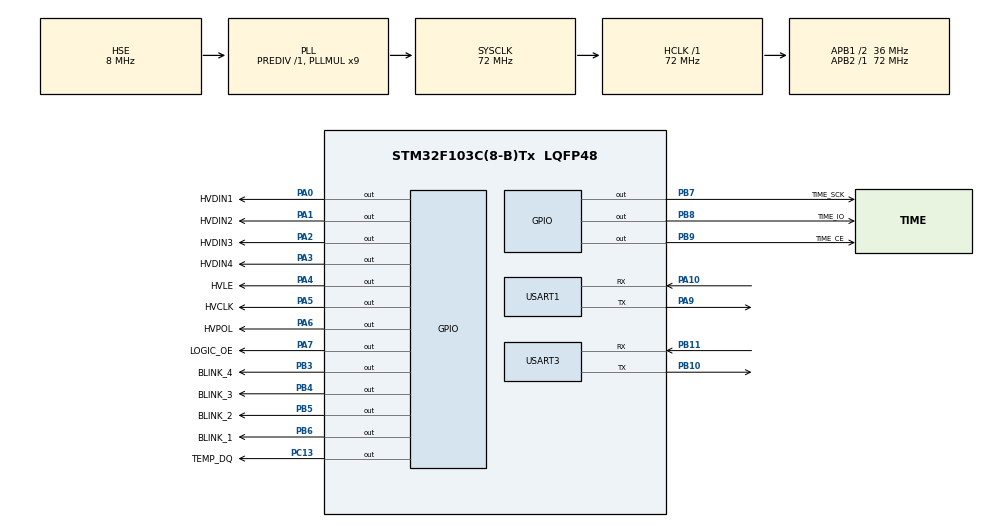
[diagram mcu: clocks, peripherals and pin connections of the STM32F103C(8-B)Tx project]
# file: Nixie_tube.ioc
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Dma.Request0=USART1_RX
Dma.Request1=USART3_RX
Dma.USART1_RX.0.Direction=DMA_PERIPH_TO_MEMORY
Dma.USART1_RX.0.Instance=DMA1_Channel5
Dma.USART1_RX.0.MemDataAlignment=DMA_MDATAALIGN_BYTE
Dma.USART1_RX.0.MemInc=DMA_MINC_ENABLE
Dma.USART1_RX.0.Mode=DMA_NORMAL
Dma.USART1_RX.0.PeriphDataAlignment=DMA_PDATAALIGN_BYTE
Dma.USART1_RX.0.PeriphInc=DMA_PINC_DISABLE
Dma.USART1_RX.0.Priority=DMA_PRIORITY_LOW
Dma.USART3_RX.1.Direction=DMA_PERIPH_TO_MEMORY
Dma.USART3_RX.1.Instance=DMA1_Channel3
Dma.USART3_RX.1.MemDataAlignment=DMA_MDATAALIGN_BYTE
Dma.USART3_RX.1.MemInc=DMA_MINC_ENABLE
Dma.USART3_RX.1.Mode=DMA_NORMAL
Dma.USART3_RX.1.PeriphDataAlignment=DMA_PDATAALIGN_BYTE
Dma.USART3_RX.1.PeriphInc=DMA_PINC_DISABLE
Dma.USART3_RX.1.Priority=DMA_PRIORITY_LOW
FREERTOS.Tasks01=defaultTask,-3,88,StartDefaultTask,Default;TEMP_Task,0,128,TEMP_Task02,Default;TIME_Task,0,128,TIME_Task03,Default;NIXIE_Task,0,128,display_Task04,Default;wifi_Task,-1,100,wifi_Task05,Default;uart_Task,-2,88,serial_Task06,Default
FREERTOS.configMINIMAL_STACK_SIZE=88
FREERTOS.configTOTAL_HEAP_SIZE=4096
Mcu.Family=STM32F1
Mcu.Name=STM32F103C(8-B)Tx
Mcu.Package=LQFP48
NVIC.DMA1_Channel3_IRQn=true\:5\:0\:false\:false\:true\:true
NVIC.DMA1_Channel5_IRQn=true\:5\:0\:false\:false\:true\:true
NVIC.PriorityGroup=NVIC_PRIORITYGROUP_4
NVIC.TIM1_UP_IRQn=true\:0\:0\:false\:false\:true\:false
NVIC.TIM3_IRQn=true\:5\:0\:false\:false\:true\:true
NVIC.TIM4_IRQn=true\:0\:0\:false\:false\:true\:false
NVIC.TimeBase=TIM1_UP_IRQn
NVIC.TimeBaseIP=TIM1
NVIC.USART1_IRQn=true\:5\:0\:false\:false\:true\:true
NVIC.USART3_IRQn=true\:5\:0\:false\:false\:true\:true
PA0-WKUP.GPIO_Label=HVDIN1
PA0-WKUP.GPIO_Speed=GPIO_SPEED_FREQ_HIGH
PA0-WKUP.PinState=GPIO_PIN_RESET
PA0-WKUP.Signal=GPIO_Output
PA1.GPIO_Label=HVDIN2
PA1.GPIO_Speed=GPIO_SPEED_FREQ_HIGH
PA1.Signal=GPIO_Output
PA10.Mode=Asynchronous
PA10.Signal=USART1_RX
PA13.Mode=Serial_Wire
PA13.Signal=SYS_JTMS-SWDIO
PA14.Mode=Serial_Wire
PA14.Signal=SYS_JTCK-SWCLK
PA2.GPIO_Label=HVDIN3
PA2.GPIO_Speed=GPIO_SPEED_FREQ_HIGH
PA2.Signal=GPIO_Output
PA3.GPIO_Label=HVDIN4
PA3.GPIO_Speed=GPIO_SPEED_FREQ_HIGH
PA3.Signal=GPIO_Output
PA4.GPIO_Label=HVLE
PA4.GPIO_Speed=GPIO_SPEED_FREQ_MEDIUM
PA4.Signal=GPIO_Output
PA5.GPIO_Label=HVCLK
PA5.GPIO_Speed=GPIO_SPEED_FREQ_HIGH
PA5.Signal=GPIO_Output
PA6.GPIO_Label=HVPOL
PA6.GPIO_Speed=GPIO_SPEED_FREQ_MEDIUM
PA6.Signal=GPIO_Output
PA7.GPIO_Label=LOGIC_OE
PA7.Signal=GPIO_Output
PA9.Mode=Asynchronous
PA9.Signal=USART1_TX
PB10.Mode=Asynchronous
PB10.Signal=USART3_TX
PB11.Mode=Asynchronous
PB11.Signal=USART3_RX
PB3.GPIO_Label=BLINK_4
PB3.Signal=GPIO_Output
PB4.GPIO_Label=BLINK_3
PB4.Signal=GPIO_Output
PB5.GPIO_Label=BLINK_2
PB5.Signal=GPIO_Output
PB6.GPIO_Label=BLINK_1
PB6.Signal=GPIO_Output
PB7.GPIO_Label=TIME_SCK
PB7.GPIO_Speed=GPIO_SPEED_FREQ_HIGH
PB7.Signal=GPIO_Output
PB8.GPIO_Label=TIME_IO
PB8.GPIO_Speed=GPIO_SPEED_FREQ_HIGH
PB8.Signal=GPIO_Output
PB9.GPIO_Label=TIME_CE
PB9.Signal=GPIO_Output
PC13-TAMPER-RTC.GPIO_Label=TEMP_DQ
PC13-TAMPER-RTC.GPIO_Speed=GPIO_SPEED_FREQ_HIGH
PC13-TAMPER-RTC.Signal=GPIO_Output
PC14-OSC32_IN.Mode=LSE-External-Oscillator
PC14-OSC32_IN.Signal=RCC_OSC32_IN
PC15-OSC32_OUT.Mode=LSE-External-Oscillator
PC15-OSC32_OUT.Signal=RCC_OSC32_OUT
PD0-OSC_IN.Mode=HSE-External-Oscillator
PD0-OSC_IN.Signal=RCC_OSC_IN
PD1-OSC_OUT.Mode=HSE-External-Oscillator
PD1-OSC_OUT.Signal=RCC_OSC_OUT
ProjectManager.HeapSize=0x200
ProjectManager.StackSize=0x400
ProjectManager.TargetToolchain=MDK-ARM V5
RCC.AHBFreq_Value=72000000
RCC.APB1CLKDivider=RCC_HCLK_DIV2
RCC.APB1Freq_Value=36000000
RCC.APB1TimFreq_Value=72000000
RCC.APB2Freq_Value=72000000
RCC.APB2TimFreq_Value=72000000
RCC.HCLKFreq_Value=72000000
RCC.HSIState=RCC_HSI_ON
RCC.PLLMUL=RCC_PLL_MUL9
RCC.PLLSourceVirtual=RCC_PLLSOURCE_HSE
RCC.SYSCLKFreq_VALUE=72000000
RCC.SYSCLKSource=RCC_SYSCLKSOURCE_PLLCLK
RCC.USBFreq_Value=72000000
TIM3.Period=10000-1
TIM3.Prescaler=7200-1
TIM4.Period=2000-1
TIM4.Prescaler=7200-1
VP_CRC_VS_CRC.Mode=CRC_Activate
VP_FREERTOS_VS_ENABLE.Mode=Enabled
VP_SYS_VS_tim1.Mode=TIM1
VP_TIM3_VS_ClockSourceINT.Mode=Internal
VP_TIM4_VS_ClockSourceINT.Mode=Internal
board=Nixie_tube

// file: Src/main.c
/**
  ******************************************************************************
  * File Name          : main.c
  * Description        : Main program body
  ******************************************************************************
  *
  * COPYRIGHT(c) 2017 STMicroelectronics
  *
  * Redistribution and use in source and binary forms, with or without modification,
  * are permitted provided that the following conditions are met:
  *   1. Redistributions of source code must retain the above copyright notice,
  *      this list of conditions and the following disclaimer.
  *   2. Redistributions in binary form must reproduce the above copyright notice,
  *      this list of conditions and the following disclaimer in the documentation
  *      and/or other materials provided with the distribution.
  *   3. Neither the name of STMicroelectronics nor the names of its contributors
  *      may be used to endorse or promote products derived from this software
  *      without specific prior written permission.
  *
  * THIS SOFTWARE IS PROVIDED BY THE COPYRIGHT HOLDERS AND CONTRIBUTORS "AS IS"
  * AND ANY EXPRESS OR IMPLIED WARRANTIES, INCLUDING, BUT NOT LIMITED TO, THE
  * IMPLIED WARRANTIES OF MERCHANTABILITY AND FITNESS FOR A PARTICULAR PURPOSE ARE
  * DISCLAIMED. IN NO EVENT SHALL THE COPYRIGHT HOLDER OR CONTRIBUTORS BE LIABLE
  * FOR ANY DIRECT, INDIRECT, INCIDENTAL, SPECIAL, EXEMPLARY, OR CONSEQUENTIAL
  * DAMAGES (INCLUDING, BUT NOT LIMITED TO, PROCUREMENT OF SUBSTITUTE GOODS OR
  * SERVICES; LOSS OF USE, DATA, OR PROFITS; OR BUSINESS INTERRUPTION) HOWEVER
  * CAUSED AND ON ANY THEORY OF LIABILITY, WHETHER IN CONTRACT, STRICT LIABILITY,
  * OR TORT (INCLUDING NEGLIGENCE OR OTHERWISE) ARISING IN ANY WAY OUT OF THE USE
  * OF THIS SOFTWARE, EVEN IF ADVISED OF THE POSSIBILITY OF SUCH DAMAGE.
  *
  ******************************************************************************
  */
#include "stm32f1xx_hal.h"
#include "cmsis_os.h"
#include "crc.h"
#include "dma.h"
#include "tim.h"
#include "usart.h"
#include "gpio.h"

/* USER CODE BEGIN Includes */
#include "ds18b20.h"
#include "ds1302.h"
#include "hv_display.h"
#include "delay.h"
/* USER CODE END Includes */

/* USER CODE BEGIN PV */
/* Private variables ---------------------------------------------------------*/

/* USER CODE END PV */

void SystemClock_Config(void);
void Error_Handler(void);
void MX_FREERTOS_Init(void);

/* USER CODE BEGIN PFP */
/* Private function prototypes -----------------------------------------------*/

/* USER CODE END PFP */

int main(void)
{

  /* USER CODE BEGIN 1 */
	__set_PRIMASK(1);  								// 0为重开中断

  /* USER CODE END 1 */

  /* MCU Configuration----------------------------------------------------------*/

  /* Reset of all peripherals, Initializes the Flash interface and the Systick. */
  HAL_Init();

  /* Configure the system clock */
  SystemClock_Config();

  /* Initialize all configured peripherals */
  MX_GPIO_Init();
  MX_DMA_Init();
  MX_USART1_UART_Init();
  MX_USART3_UART_Init();
  MX_CRC_Init();
  MX_TIM3_Init();
  MX_TIM4_Init();

  /* USER CODE BEGIN 2 */
	bsp_InitDWT();
	HV_Display_Init_write();
	bsp_18B20_Init();
	bsp_1302_Init();

  /* USER CODE END 2 */

  /* Call init function for freertos objects (in freertos.c) */
  MX_FREERTOS_Init();

  /* Start scheduler */
  osKernelStart();

  /* We should never get here as control is now taken by the scheduler */

  /* Infinite loop */
  while (1)
  {

  }

}

/** System Clock Configuration
*/
void SystemClock_Config(void)
{

  RCC_OscInitTypeDef RCC_OscInitStruct;
  RCC_ClkInitTypeDef RCC_ClkInitStruct;

  RCC_OscInitStruct.OscillatorType = RCC_OSCILLATORTYPE_HSE;
  RCC_OscInitStruct.HSEState = RCC_HSE_ON;
  RCC_OscInitStruct.HSEPredivValue = RCC_HSE_PREDIV_DIV1;
  RCC_OscInitStruct.PLL.PLLState = RCC_PLL_ON;
  RCC_OscInitStruct.PLL.PLLSource = RCC_PLLSOURCE_HSE;
  RCC_OscInitStruct.PLL.PLLMUL = RCC_PLL_MUL9;
  if (HAL_RCC_OscConfig(&RCC_OscInitStruct) != HAL_OK)
  {
    Error_Handler();
  }

  RCC_ClkInitStruct.ClockType = RCC_CLOCKTYPE_HCLK|RCC_CLOCKTYPE_SYSCLK
                              |RCC_CLOCKTYPE_PCLK1|RCC_CLOCKTYPE_PCLK2;
  RCC_ClkInitStruct.SYSCLKSource = RCC_SYSCLKSOURCE_PLLCLK;
  RCC_ClkInitStruct.AHBCLKDivider = RCC_SYSCLK_DIV1;
  RCC_ClkInitStruct.APB1CLKDivider = RCC_HCLK_DIV2;
  RCC_ClkInitStruct.APB2CLKDivider = RCC_HCLK_DIV1;
  if (HAL_RCC_ClockConfig(&RCC_ClkInitStruct, FLASH_LATENCY_2) != HAL_OK)
  {
    Error_Handler();
  }

  HAL_SYSTICK_Config(HAL_RCC_GetHCLKFreq()/1000);

  HAL_SYSTICK_CLKSourceConfig(SYSTICK_CLKSOURCE_HCLK);

  /* SysTick_IRQn interrupt configuration */
  HAL_NVIC_SetPriority(SysTick_IRQn, 15, 0);
}

void HAL_TIM_PeriodElapsedCallback(TIM_HandleTypeDef *htim)
{
  if (htim->Instance == TIM1) {
    HAL_IncTick();
  }
}

void Error_Handler(void)
{
  while(1)
  {
  }
}

/************************ (C) COPYRIGHT STMicroelectronics *****END OF FILE****/

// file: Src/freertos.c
/**
  ******************************************************************************
  * File Name          : freertos.c
  * Description        : Code for freertos applications
  ******************************************************************************
  *
  * COPYRIGHT(c) 2017 STMicroelectronics
  *
  * Redistribution and use in source and binary forms, with or without modification,
  * are permitted provided that the following conditions are met:
  *   1. Redistributions of source code must retain the above copyright notice,
  *      this list of conditions and the following disclaimer.
  *   2. Redistributions in binary form must reproduce the above copyright notice,
  *      this list of conditions and the following disclaimer in the documentation
  *      and/or other materials provided with the distribution.
  *   3. Neither the name of STMicroelectronics nor the names of its contributors
  *      may be used to endorse or promote products derived from this software
  *      without specific prior written permission.
  *
  * THIS SOFTWARE IS PROVIDED BY THE COPYRIGHT HOLDERS AND CONTRIBUTORS "AS IS"
  * AND ANY EXPRESS OR IMPLIED WARRANTIES, INCLUDING, BUT NOT LIMITED TO, THE
  * IMPLIED WARRANTIES OF MERCHANTABILITY AND FITNESS FOR A PARTICULAR PURPOSE ARE
  * DISCLAIMED. IN NO EVENT SHALL THE COPYRIGHT HOLDER OR CONTRIBUTORS BE LIABLE
  * FOR ANY DIRECT, INDIRECT, INCIDENTAL, SPECIAL, EXEMPLARY, OR CONSEQUENTIAL
  * DAMAGES (INCLUDING, BUT NOT LIMITED TO, PROCUREMENT OF SUBSTITUTE GOODS OR
  * SERVICES; LOSS OF USE, DATA, OR PROFITS; OR BUSINESS INTERRUPTION) HOWEVER
  * CAUSED AND ON ANY THEORY OF LIABILITY, WHETHER IN CONTRACT, STRICT LIABILITY,
  * OR TORT (INCLUDING NEGLIGENCE OR OTHERWISE) ARISING IN ANY WAY OUT OF THE USE
  * OF THIS SOFTWARE, EVEN IF ADVISED OF THE POSSIBILITY OF SUCH DAMAGE.
  *
  ******************************************************************************
  */

#include "FreeRTOS.h"
#include "task.h"
#include "cmsis_os.h"

/* USER CODE BEGIN Includes */
#include "stdio.h"
#include "stdlib.h"
#include "stdarg.h"
#include "string.h"
#include "usart.h"
#include "ds18b20.h"
/* USER CODE END Includes */

osThreadId defaultTaskHandle;
osThreadId TEMP_TaskHandle;
osThreadId TIME_TaskHandle;
osThreadId NIXIE_TaskHandle;
osThreadId wifi_TaskHandle;
osThreadId uart_TaskHandle;

/* USER CODE BEGIN Variables */
int16_t Temp;
static SemaphoreHandle_t  xMutex = NULL;
/* USER CODE END Variables */

void StartDefaultTask(void const * argument);
void TEMP_Task02(void const * argument);
void TIME_Task03(void const * argument);
void display_Task04(void const * argument);
void wifi_Task05(void const * argument);
void serial_Task06(void const * argument);

void MX_FREERTOS_Init(void); /* (MISRA C 2004 rule 8.1) */

/* USER CODE BEGIN FunctionPrototypes */
void AppObjCreate (void);
void USART_SendData(UART_HandleTypeDef* uartHandle,void const * argument, ...);
/* USER CODE END FunctionPrototypes */

/* Hook prototypes */

/* Init FreeRTOS */

void MX_FREERTOS_Init(void) {

  /* Create the thread(s) */
  /* definition and creation of defaultTask */
  osThreadDef(defaultTask, StartDefaultTask, osPriorityIdle, 0, 88);
  defaultTaskHandle = osThreadCreate(osThread(defaultTask), NULL);

  /* definition and creation of TEMP_Task */
  osThreadDef(TEMP_Task, TEMP_Task02, osPriorityNormal, 0, 128);
  TEMP_TaskHandle = osThreadCreate(osThread(TEMP_Task), NULL);

  /* definition and creation of TIME_Task */
  osThreadDef(TIME_Task, TIME_Task03, osPriorityNormal, 0, 128);
  TIME_TaskHandle = osThreadCreate(osThread(TIME_Task), NULL);

  /* definition and creation of NIXIE_Task */
  osThreadDef(NIXIE_Task, display_Task04, osPriorityNormal, 0, 128);
  NIXIE_TaskHandle = osThreadCreate(osThread(NIXIE_Task), NULL);

  /* definition and creation of wifi_Task */
  osThreadDef(wifi_Task, wifi_Task05, osPriorityBelowNormal, 0, 100);
  wifi_TaskHandle = osThreadCreate(osThread(wifi_Task), NULL);

  /* definition and creation of uart_Task */
  osThreadDef(uart_Task, serial_Task06, osPriorityLow, 0, 88);
  uart_TaskHandle = osThreadCreate(osThread(uart_Task), NULL);

}

/* StartDefaultTask function */
void StartDefaultTask(void const * argument)
{

  /* USER CODE BEGIN StartDefaultTask */
  /* Infinite loop */
  for(;;)
  {
    osDelay(1000);
  }
  /* USER CODE END StartDefaultTask */
}

/* TEMP_Task02 function */
void TEMP_Task02(void const * argument)
{
  /* USER CODE BEGIN TEMP_Task02 */
	uint32_t xLastWakeTime;
	const uint32_t xFrequency = 200;
//	uint16_t temp;
//  char SendData[64];
	/* 获取当前的系统时间 */
  xLastWakeTime = xTaskGetTickCount();
	AppObjCreate();
  /* Infinite loop */
  for(;;)
  {
		Temp =DS18B20_ReadTempReg();
		xSemaphoreGive(xMutex);
//		sprintf(SendData,"Now the TEMP is %.2f C",(float)temp/16);
//		USART_SendData(&SendData);
    osDelay(1000);
  }
  /* USER CODE END TEMP_Task02 */
}

/* TIME_Task03 function */
void TIME_Task03(void const * argument)
{
  for(;;)
  {
    osDelay(1);
  }
}

/* display_Task04 function */
void display_Task04(void const * argument)
{
  for(;;)
  {
    osDelay(1);
  }
}

/* wifi_Task05 function */
void wifi_Task05(void const * argument)
{
  for(;;)
  {
    osDelay(1);
  }
}

/* serial_Task06 function */
void serial_Task06(void const * argument)
{
  for(;;)
  {
    osDelay(1);
  }
}

/* USER CODE BEGIN Application */
void AppObjCreate (void)
{
		/* 创建互斥信号量 */
    xMutex = xSemaphoreCreateMutex();

	if(xMutex == NULL)
    {
      /* 没有创建成功，在这里加入创建失败的处理机制 */
			USART_SendData(Serial_Uart,"xMutex Create Failed!\r\n\0");
    }
}

/* USART_SendData function */
void USART_SendData(UART_HandleTypeDef* uartHandle,void const * argument, ...)
{
  /* USER CODE BEGIN USART_SendData */
  /* Infinite loop */
    char  buf_str[200];
		UART_HandleTypeDef *UART2SEND;
//    va_list   v_args;
//    va_start(v_args, argument);
//   (void)vsnprintf((char       *)&buf_str[0],
//                   (size_t      ) sizeof(buf_str),
//                   (char const *) argument,
//                                  v_args);
//    va_end(v_args);

		/* 互斥信号量 */
		xSemaphoreTake(xMutex, portMAX_DELAY);
		if(uartHandle->Instance==USART1)
		{
			UART2SEND=&huart1;
		}
		else if(uartHandle->Instance==USART3)
		{
			UART2SEND=&huart3;
		}
		else
		{
			xSemaphoreGive(xMutex);
			USART_SendData(Serial_Uart,"UART select error!\r\n\0");
			return;
		}
		sprintf(buf_str,"%s\r\n",argument);
    HAL_UART_Transmit(UART2SEND,(uint8_t*)buf_str,strlen(buf_str),300);
   	xSemaphoreGive(xMutex);
  /* USER CODE END USART_SendData */
}
/* USER CODE END Application */

/************************ (C) COPYRIGHT STMicroelectronics *****END OF FILE****/
